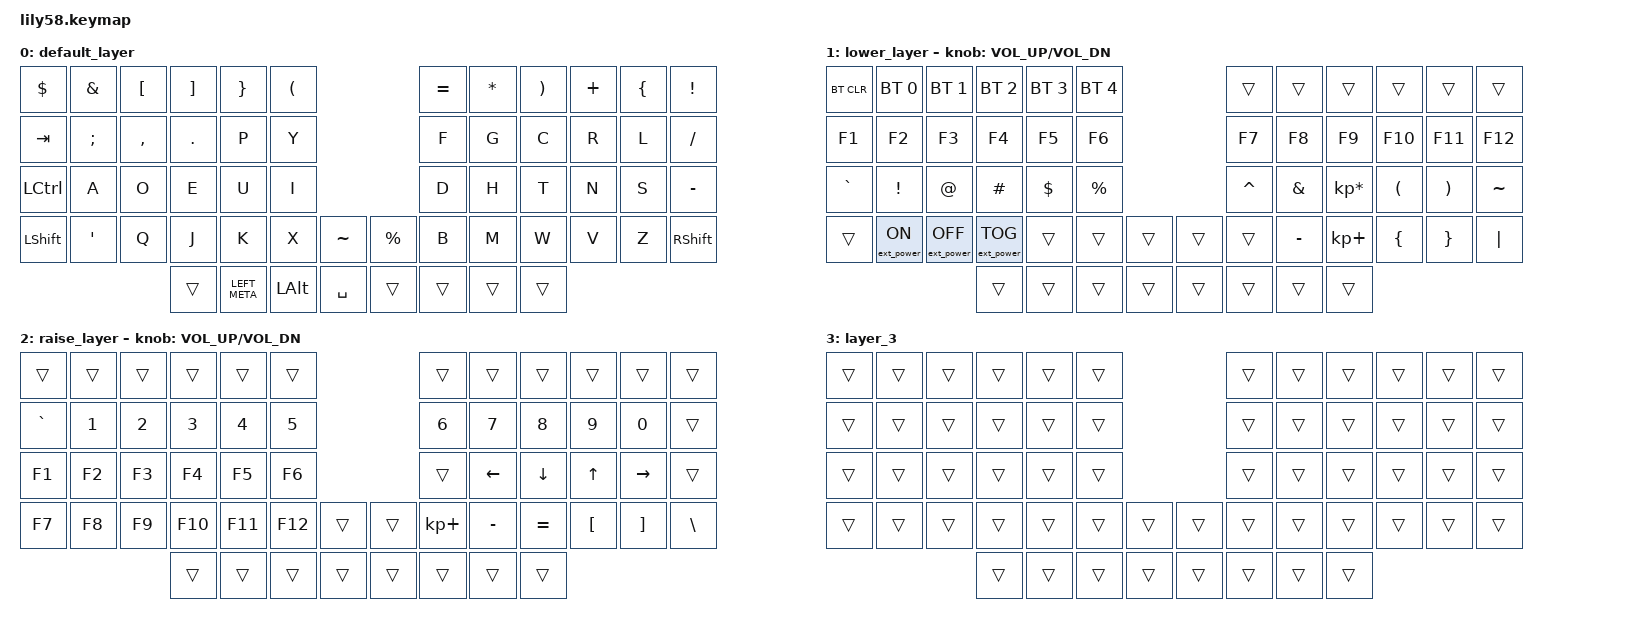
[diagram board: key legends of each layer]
/*
 * Copyright (c) 2020 The ZMK Contributors
 *
 * SPDX-License-Identifier: MIT
 */

#include <behaviors.dtsi>
#include <dt-bindings/zmk/bt.h>
#include <dt-bindings/zmk/ext_power.h>
#include <dt-bindings/zmk/keys.h>

/ {
    keymap {
        compatible = "zmk,keymap";

        default_layer {
            bindings = <
&kp DLLR   &kp AMPS  &kp LBKT   &kp RBKT  &kp RBRC       &kp LPAR                            &kp EQUAL  &kp STAR  &kp RPAR  &kp PLUS  &kp LBRC  &kp EXCL
&kp TAB    &kp SEMI  &kp COMMA  &kp DOT   &kp P          &kp Y                               &kp F      &kp G     &kp C     &kp R     &kp L     &kp FSLH
&kp LCTRL  &kp A     &kp O      &kp E     &kp U          &kp I                               &kp D      &kp H     &kp T     &kp N     &kp S     &kp MINUS
&kp LSHFT  &kp SQT   &kp Q      &kp J     &kp K          &kp X     &kp TILDE    &kp PERCENT  &kp B      &kp M     &kp W     &kp V     &kp Z     &kp RSHFT
                                &trans    &kp LEFT_META  &kp LALT  &kp SPACE    &trans       &trans     &trans    &trans
            >;
        };

        lower_layer {
            // ------------------------------------------------------------------------------------------------------------
            // | BTCLR | BT1 | BT2 |  BT3 |  BT4 |  BT5 |                   |      |       |       |      |       |       |
            // |  F1   |  F2 |  F3 |  F4  |  F5  |  F6  |                   |  F7  |  F8   |  F9   |  F10 |  F11  |  F12  |
            // |   `   |  !  |  @  |  #   |  $   |  %   |                   |  ^   |  &    |  *    |  (   |   )   |   ~   |
            // |       |     |     |      |      |      |        |  |       |      |  _    |  +    |  {   |   }   |  "|"  |
            //                     |      |      |      |        |  |       |      |       |       |

            bindings = <
&bt BT_CLR  &bt BT_SEL 0      &bt BT_SEL 1       &bt BT_SEL 2       &bt BT_SEL 3  &bt BT_SEL 4                    &trans     &trans     &trans           &trans    &trans    &trans
&kp F1      &kp F2            &kp F3             &kp F4             &kp F5        &kp F6                          &kp F7     &kp F8     &kp F9           &kp F10   &kp F11   &kp F12
&kp GRAVE   &kp EXCL          &kp AT             &kp HASH           &kp DOLLAR    &kp PRCNT                       &kp CARET  &kp AMPS   &kp KP_MULTIPLY  &kp LPAR  &kp RPAR  &kp TILDE
&trans      &ext_power EP_ON  &ext_power EP_OFF  &ext_power EP_TOG  &trans        &trans        &trans    &trans  &trans     &kp MINUS  &kp KP_PLUS      &kp LBRC  &kp RBRC  &kp PIPE
                                                 &trans             &trans        &trans        &trans    &trans  &trans     &trans     &trans
            >;

            sensor-bindings = <&inc_dec_kp C_VOL_UP C_VOL_DN>;
        };

        raise_layer {
            // ------------------------------------------------------------------------------------------------------------
            // |       |     |     |      |      |      |                   |      |       |       |      |       |       |
            // |   `   |  1  |  2  |  3   |  4   |  5   |                   |  6   |   7   |   8   |  9   |   0   |       |
            // |   F1  |  F2 |  F3 |  F4  |  F5  |  F6  |                   |      |   <-  |   v   |  ^   |  ->   |       |
            // |   F7  |  F8 |  F9 |  F10 |  F11 |  F12 |        |  |       |  +   |   -   |   =   |  [   |   ]   |   \   |
            //                     |      |      |      |        |  |       |      |       |       |

            bindings = <
&trans     &trans  &trans  &trans   &trans   &trans                     &trans       &trans     &trans     &trans    &trans     &trans
&kp GRAVE  &kp N1  &kp N2  &kp N3   &kp N4   &kp N5                     &kp N6       &kp N7     &kp N8     &kp N9    &kp N0     &trans
&kp F1     &kp F2  &kp F3  &kp F4   &kp F5   &kp F6                     &trans       &kp LEFT   &kp DOWN   &kp UP    &kp RIGHT  &trans
&kp F7     &kp F8  &kp F9  &kp F10  &kp F11  &kp F12  &trans    &trans  &kp KP_PLUS  &kp MINUS  &kp EQUAL  &kp LBKT  &kp RBKT   &kp BSLH
                           &trans   &trans   &trans   &trans    &trans  &trans       &trans     &trans
            >;

            sensor-bindings = <&inc_dec_kp C_VOL_UP C_VOL_DN>;
        };

        layer_3 {
            bindings = <
&trans  &trans  &trans  &trans  &trans  &trans                    &trans  &trans  &trans  &trans  &trans  &trans
&trans  &trans  &trans  &trans  &trans  &trans                    &trans  &trans  &trans  &trans  &trans  &trans
&trans  &trans  &trans  &trans  &trans  &trans                    &trans  &trans  &trans  &trans  &trans  &trans
&trans  &trans  &trans  &trans  &trans  &trans  &trans    &trans  &trans  &trans  &trans  &trans  &trans  &trans
                        &trans  &trans  &trans  &trans    &trans  &trans  &trans  &trans
            >;
        };
    };
};
